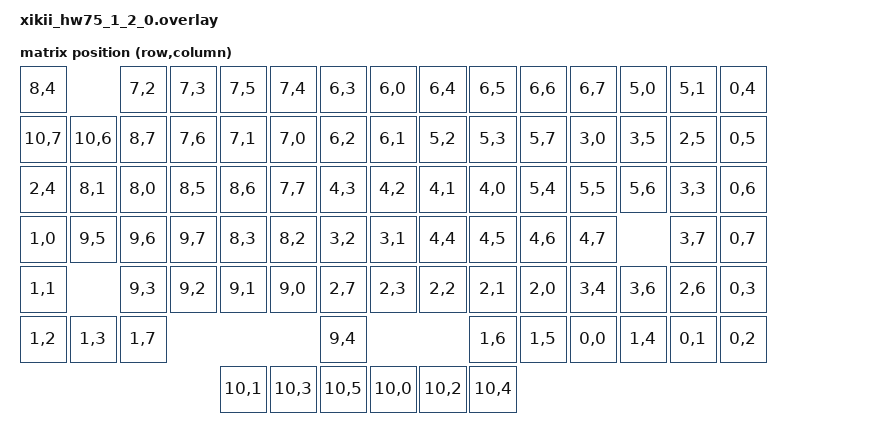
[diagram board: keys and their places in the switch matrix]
/*
 * Copyright (c) 2022 The ZMK Contributors
 * SPDX-License-Identifier: MIT
 */

#include <dt-bindings/zmk/matrix_transform.h>

&default_transform {
    map = <
        RC(8, 4)          RC(7, 2) RC(7, 3) RC(7, 5) RC(7, 4) RC(6, 3) RC(6, 0) RC(6, 4) RC(6, 5) RC(6, 6) RC(6, 7) RC(5, 0) RC(5, 1) RC(0, 4)
        RC(10,7) RC(10,6) RC(8, 7) RC(7, 6) RC(7, 1) RC(7, 0) RC(6, 2) RC(6, 1) RC(5, 2) RC(5, 3) RC(5, 7) RC(3, 0) RC(3, 5) RC(2, 5) RC(0, 5)
        RC(2, 4) RC(8, 1) RC(8, 0) RC(8, 5) RC(8, 6) RC(7, 7) RC(4, 3) RC(4, 2) RC(4, 1) RC(4, 0) RC(5, 4) RC(5, 5) RC(5, 6) RC(3, 3) RC(0, 6)
        RC(1, 0) RC(9, 5) RC(9, 6) RC(9, 7) RC(8, 3) RC(8, 2) RC(3, 2) RC(3, 1) RC(4, 4) RC(4, 5) RC(4, 6) RC(4, 7)          RC(3, 7) RC(0, 7)
        RC(1, 1)          RC(9, 3) RC(9, 2) RC(9, 1) RC(9, 0) RC(2, 7) RC(2, 3) RC(2, 2) RC(2, 1) RC(2, 0) RC(3, 4) RC(3, 6) RC(2, 6) RC(0, 3)
        RC(1, 2) RC(1, 3) RC(1, 7)                            RC(9, 4)                   RC(1, 6) RC(1, 5) RC(0, 0) RC(1, 4) RC(0, 1) RC(0, 2)
                                            RC(10,1) RC(10,3) RC(10,5) RC(10,0) RC(10,2) RC(10,4)
    >;
};

&led_strip {
	chain-length = <103>;
};
